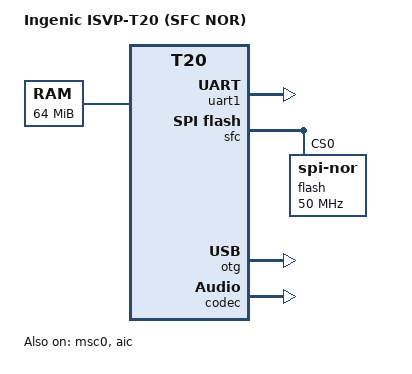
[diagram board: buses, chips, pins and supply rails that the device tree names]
// SPDX-License-Identifier: GPL-2.0+
/*
 * Ingenic ISVP-T20 shared board body (SFC-NOR, USB host).
 *
 * The per-SKU leaf .dts files (t20n-isvp.dts, t20l-isvp.dts,
 * t20x-isvp.dts) include this and set the DDR node's per-SKU compatible
 * (ingenic,t20<sku>-ddr-dwc), which selects the variant table in the DWC
 * DDR driver. The matching <leaf>-u-boot.dtsi pulls in
 * t20-isvp-uboot-common.dtsi (binman image + SPL bootph).
 */

#include <dt-bindings/gpio/gpio.h>
#include "t20.dtsi"

/ {
	compatible = "ingenic,isvp-t20", "ingenic,t20";
	model = "Ingenic ISVP-T20 (SFC NOR)";

	aliases {
		serial1 = &uart1;
	};

	chosen {
		stdout-path = "serial1:115200n8";
	};

	memory {
		device_type = "memory";
		reg = <0x0 0x04000000>;	/* 64 MB DDR2 (T20N); real size from dram_init */
	};
};

&uart1 {
	status = "okay";
};

&sfc {
	status = "okay";

	flash@0 {
		compatible = "jedec,spi-nor";
		reg = <0>;
		spi-max-frequency = <50000000>;
	};
};

&msc0 {
	status = "okay";
	bus-width = <4>;
	broken-cd;	/* no card-detect line wired on the ISVP board */
};

&otg {
	status = "okay";
};

&aic {
	status = "okay";
};

&codec {
	status = "okay";
	ingenic,spk-gpio = <&gpb 31 GPIO_ACTIVE_HIGH>;
};

&sound {
	status = "okay";
};
